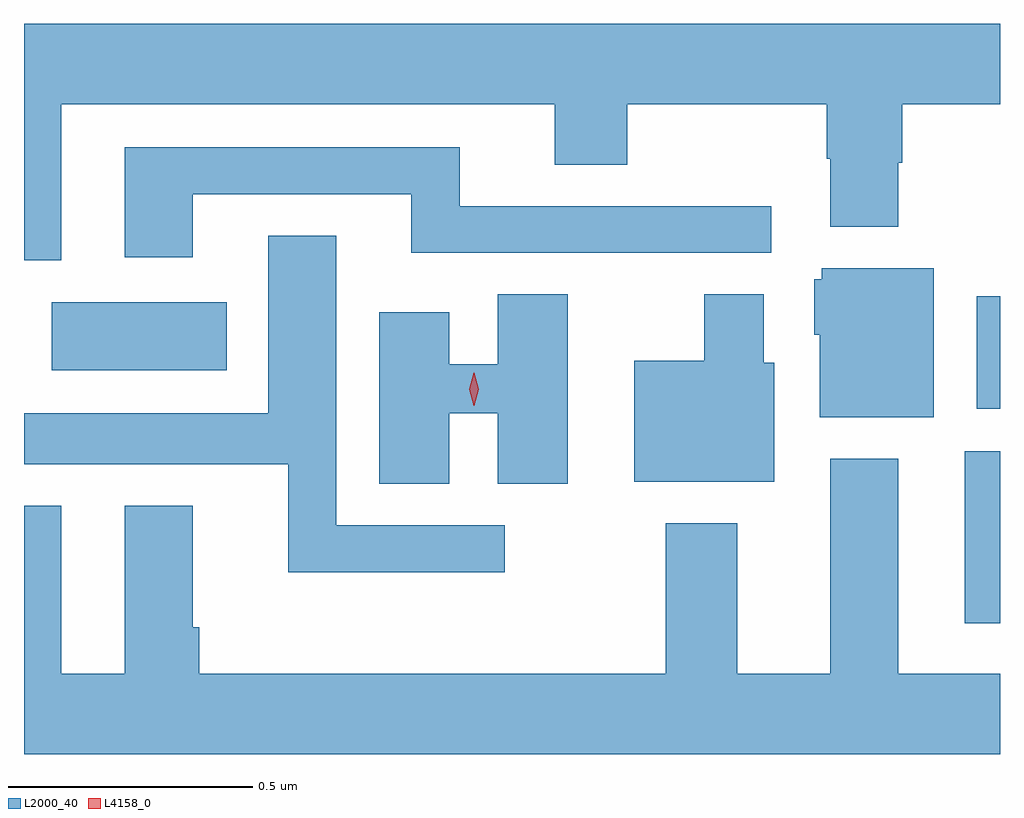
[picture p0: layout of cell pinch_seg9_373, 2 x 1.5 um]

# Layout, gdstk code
import gdstk
lib = gdstk.Library(unit=1e-6, precision=1e-09)
def R(c, l, rs):  # rectangles x0, y0, x1, y1
    for r in rs: c.add(gdstk.rectangle(r[:2], r[2:], *l))
def P(c, l, *ps):  # polygons
    for p in ps: c.add(gdstk.Polygon(p, *l))
L2000_40 = (2000, 40)
L4158_0 = (4158, 0)

pinch_seg9_373 = lib.new_cell('pinch_seg9_373')
R(pinch_seg9_373, L2000_40, [(637.847,1167.384,637.919,1167.736), (637.871,1167.824,637.919,1168.054), (635.976,1167.902,636.334,1168.042)])
P(pinch_seg9_373, L2000_40, [(635.995,1168.448),(637.007,1168.448),(637.007,1168.324),(637.155,1168.324),(637.155,1168.448),(637.564,1168.448),(637.564,1168.336),(637.571,1168.336),(637.571,1168.196),(637.711,1168.196),(637.711,1168.328),(637.719,1168.328),(637.719,1168.448),(637.919,1168.448),(637.919,1168.612),(635.919,1168.612),(635.919,1168.128),(635.995,1168.128)],
  [(636.265,1168.263),(636.713,1168.263),(636.713,1168.143),(637.45,1168.143),(637.45,1168.239),(636.812,1168.239),(636.812,1168.359),(636.125,1168.359),(636.125,1168.134),(636.265,1168.134)],
  [(636.904,1167.585),(636.559,1167.585),(636.559,1168.178),(636.419,1168.178),(636.419,1167.814),(635.919,1167.814),(635.919,1167.71),(636.461,1167.71),(636.461,1167.488),(636.904,1167.488)],
  [(637.783,1168.111),(637.554,1168.111),(637.554,1168.089),(637.538,1168.089),(637.538,1167.975),(637.55,1167.975),(637.55,1167.806),(637.783,1167.806)],
  [(637.456,1167.918),(637.435,1167.918),(637.435,1168.058),(637.313,1168.058),(637.313,1167.922),(637.169,1167.922),(637.169,1167.674),(637.456,1167.674)],
  [(636.79,1167.814),(636.89,1167.814),(636.89,1167.67),(637.033,1167.67),(637.033,1168.058),(636.89,1168.058),(636.89,1167.915),(636.79,1167.915),(636.79,1168.021),(636.647,1168.021),(636.647,1167.67),(636.79,1167.67)],
  [(637.919,1167.28),(637.711,1167.28),(637.711,1167.721),(637.571,1167.721),(637.571,1167.28),(637.381,1167.28),(637.381,1167.589),(637.234,1167.589),(637.234,1167.28),(636.278,1167.28),(636.278,1167.376),(636.265,1167.376),(636.265,1167.625),(636.125,1167.625),(636.125,1167.28),(635.995,1167.28),(635.995,1167.625),(635.919,1167.625),(635.919,1167.116),(637.919,1167.116)])
P(pinch_seg9_373, L4158_0, [(636.841,1167.83),(636.841,1167.83),(636.831,1167.863),(636.841,1167.897),(636.841,1167.897),(636.842,1167.897),(636.851,1167.863),(636.842,1167.83)])

lib.write_gds('pinch_seg9_373.gds')
